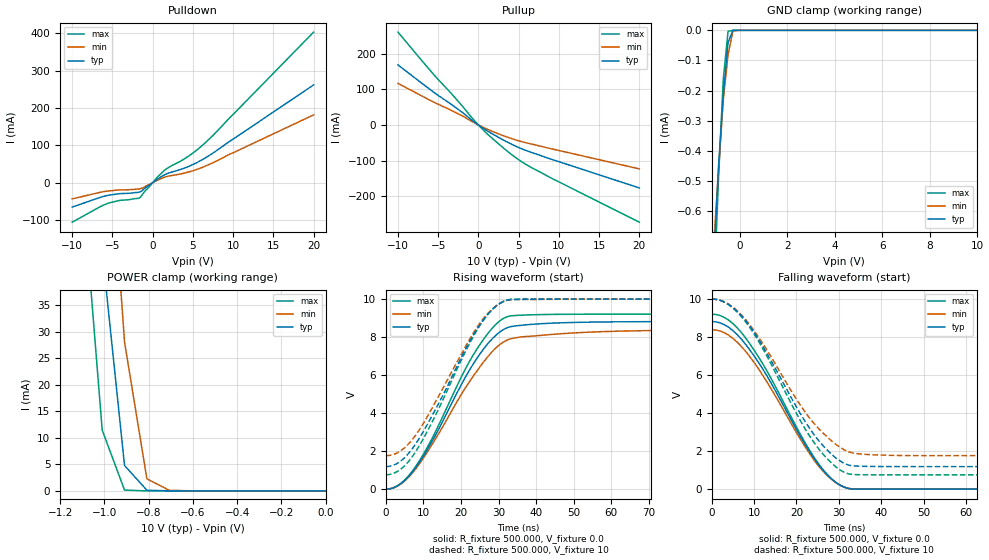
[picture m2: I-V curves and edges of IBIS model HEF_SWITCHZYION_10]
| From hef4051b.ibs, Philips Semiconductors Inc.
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|   Model HEF_SWITCHZYION_10
[Model]   HEF_SWITCHZYION_10
Model_type   I/O
Polarity   Non-Inverting
Enable   Active-High
Vinl  =  7V
Vinh  =  3V
Vmeas =  5V
Cref  =  50.0pF
Rref  =  10k
Vref  =  0.0V
C_comp   3.36E-12   3.04E-12   3.72E-12
|Ambient temperature:   25   85   -40
[Temperature Range]   35   95   -30
[Voltage Range]   10V   10V   10V
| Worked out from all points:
|   slope of the pulldown table from 0 to 1.5 V, typ, clamps not added: 70.1 ohm
|   slope of the pullup table from 0 to 1.5 V, typ, clamps not added: 68.6 ohm
|   GND clamp passes 1 mA (typ) near -1.29 V on its own axis
|   POWER clamp passes 1 mA (typ) near -0.83 V on its own axis
|   rising waveform, R_fixture 500.000, V_fixture 0.0: 20-80 % time 14.8ns typ, 15.9ns min, 14.2ns max; typ from 0 V to 8.82 V
|   rising waveform, R_fixture 500.000, V_fixture 10: 20-80 % time 14ns typ, 13.9ns min, 13.8ns max; typ from 1.19 V to 10 V
|   falling waveform, R_fixture 500.000, V_fixture 0.0: 20-80 % time 13.9ns typ, 13.8ns min, 13.8ns max; typ from 8.82 V to 0 V
|   falling waveform, R_fixture 500.000, V_fixture 10: 20-80 % time 13.8ns typ, 14.4ns min, 13.6ns max; typ from 10 V to 1.19 V
|Process Range   nominal   slow   fast
[Pulldown]
| voltage   I(typ)   I(min)   I(max)
-10V      -65.45mA   -43.48mA   -106mA
-6.5V     -39.31mA   -25.82mA   -64.15mA
-5.5V     -33.74mA   -22.22mA   -54.91mA
-4.062V   -29.41mA   -19.41mA   -47.55mA
-1.625V   -25.03mA   -16.87mA   -40.93mA
625mV     9.934mA    6.802mA    15.88mA
1.375V    20mA       13.87mA    31.3mA
1.937V    25.43mA    17.39mA    40.2mA
3.625V    36.57mA    24.14mA    59.75mA
4.75V     46.16mA    30.39mA    75.48mA
7V        72.51mA    48.66mA    116.4mA
20V       262mA      181.7mA    403.6mA
[Pullup]
| voltage   I(typ)   I(min)   I(max)
-10V      168.5mA    116.8mA    260.5mA
-5.2V     85.91mA    60.23mA    132.2mA
-3.6V     61.63mA    43.59mA    94.18mA
0V        0A         0A         0A
1.333V    -19.68mA   -14.12mA   -29.86mA
3.833V    -50.78mA   -35.9mA    -77.78mA
5.333V    -66.31mA   -46.39mA   -102.3mA
6.667V    -77.54mA   -53.86mA   -120.3mA
20V       -176.6mA   -123.1mA   -272.5mA
[GND_clamp]
| voltage   I(typ)   I(min)   I(max)
-10V      -7.803A    -7.858A    -7.756A
-1.111V   -771.5uA   -708.6uA   -890.8uA
-909.1mV  -454.8uA   -468.3uA   -493.8uA
-707.1mV  -216.2uA   -230.8uA   -163.1uA
-505.1mV  -40.69uA   -81.91uA   -3.405uA
-303mV    -75.37nA   -2.839uA   -94.03pA
-101mV    -2.215pA   -465.3pA   -41.82fA
10V       132.9fA    4.286pA    120fA
[POWER_clamp]
| voltage   I(typ)   I(min)   I(max)
-10V      6.824A     6.94A      6.716A
-1.111V   103.9mA    144.5mA    64.01mA
-1.01V    45.3mA     87.67mA    11.47mA
-909.1mV  4.793mA    28.09mA    161.4uA
-808.1mV  133.8uA    2.287mA    2.491uA
-707.1mV  9.523uA    121.1uA    424.7nA
0V        84.88fA    1.213pA    80fA
[Ramp]
| variable   typ   min   max
dV/dt_r   5.290/14.781E-09   5.027/15.944E-09   5.524/14.225E-09
dV/dt_f   5.291/13.854E-09   5.031/13.818E-09   5.524/13.834E-09
R_load = 500.000
[Rising Waveform]
R_fixture   = 500.000
V_fixture   = 0.0
V_fixture_min = 0.0
V_fixture_max = 0.0
| time   V(typ)   V(min)   V(max)
0s        3.666pV    33.56pV    2.141pV
4.04ns    293.6mV    275.5mV    312.5mV
8.081ns   1.166V     1.099V     1.233V
12.12ns   2.452V     2.293V     2.598V
23.23ns   6.574V     5.934V     7.051V
27.27ns   7.686V     6.999V     8.217V
31.31ns   8.397V     7.743V     8.984V
36.36ns   8.627V     8.018V     9.155V
52.53ns   8.78V      8.244V     9.203V
100ns     8.817V     8.378V     9.207V
[Rising Waveform]
R_fixture   = 500.000
V_fixture   = 10
V_fixture_min = 10
V_fixture_max = 10
| time   V(typ)   V(min)   V(max)
0s        1.187V     1.761V     754mV
4.04ns    1.491V     2.028V     1.063V
7.071ns   2.135V     2.619V     1.718V
12.12ns   3.799V     4.199V     3.454V
21.21ns   7.361V     7.509V     7.248V
24.24ns   8.418V     8.506V     8.356V
28.28ns   9.447V     9.468V     9.436V
31.31ns   9.87V      9.868V     9.885V
37.37ns   9.987V     9.982V     9.994V
100ns     10V        10V        10V
[Falling Waveform]
R_fixture   = 500.000
V_fixture   = 0.0
V_fixture_min = 0.0
V_fixture_max = 0.0
| time   V(typ)   V(min)   V(max)
0s        8.818V     8.384V     9.207V
4.04ns    8.515V     8.098V     8.891V
8.081ns   7.603V     7.234V     7.937V
13.13ns   5.933V     5.612V     6.19V
21.21ns   2.672V     2.532V     2.777V
24.24ns   1.596V     1.506V     1.654V
28.28ns   536.6mV    518.1mV    547.9mV
31.31ns   103.3mV    105.1mV    100.1mV
34.34ns   4.845mV    7.491mV    2.542mV
100ns     95.68nV    1.958uV    256.8pV
[Falling Waveform]
R_fixture   = 500.000
V_fixture   = 10
V_fixture_min = 10
V_fixture_max = 10
| time   V(typ)   V(min)   V(max)
0s        10V        10V        10V
4.04ns    9.715V     9.732V     9.696V
8.081ns   8.851V     8.909V     8.788V
12.12ns   7.504V     7.652V     7.374V
19.19ns   4.652V     5.024V     4.326V
23.23ns   3.161V     3.708V     2.76V
27.27ns   2.053V     2.745V     1.6V
31.31ns   1.355V     2.065V     883.7mV
42.42ns   1.189V     1.778V     754.4mV
100ns     1.187V     1.761V     754mV
